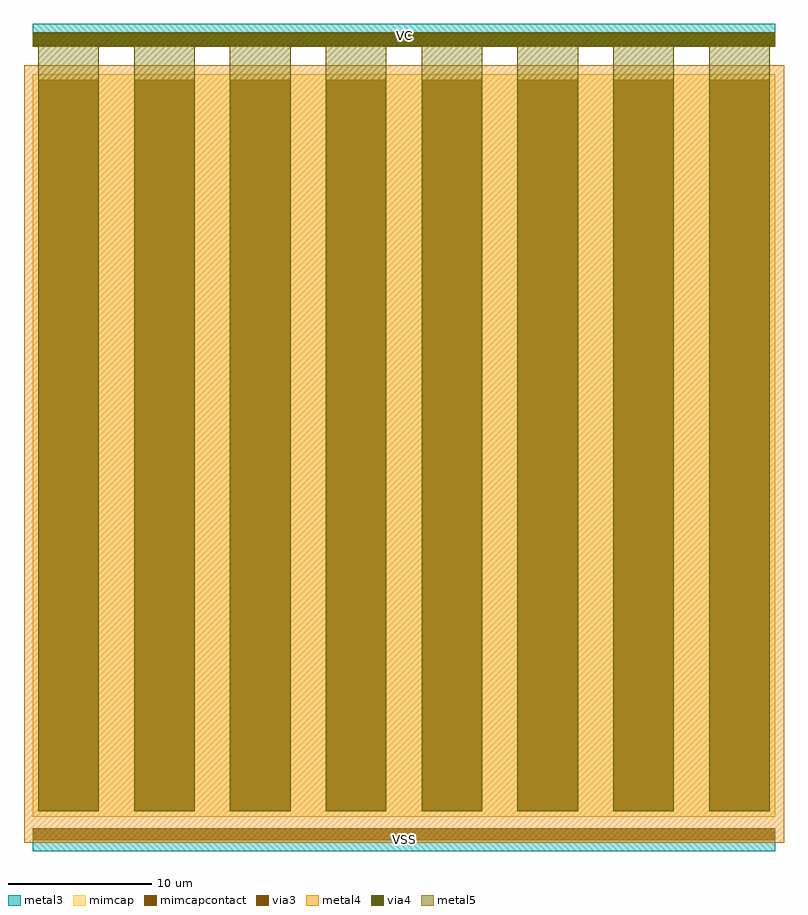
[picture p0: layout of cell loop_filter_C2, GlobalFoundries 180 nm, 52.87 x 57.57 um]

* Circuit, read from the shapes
.subckt loop_filter_C2 VC VSS
XC1 VC VSS cap_mim_2f0fF c_width=51.67u c_length=51.67u
.ends

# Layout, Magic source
magic
tech gf180mcuD
magscale 1 10
<< metal3 >>
rect 0 -340 10334 -160
rect 0 10714 10334 10914
rect 0 10714 10334 11034
rect 0 10714 10334 11034
rect 0 -480 10334 -160
rect 0 -480 10334 -160
<< metal4 >>
rect -120 -360 10454 10454
rect 0 -340 10334 -160
rect 0 10714 10334 10914
rect 0 10714 10334 10914
<< mimcap >>
rect 0 0 10334 10334
<< metal5 >>
rect 78 78 922 10814
rect 1411 78 2255 10814
rect 2745 78 3589 10814
rect 4078 78 4922 10814
rect 5412 78 6256 10814
rect 6745 78 7589 10814
rect 8078 78 8922 10814
rect 9412 78 10256 10814
rect 0 10714 10334 10914
rect 0 10714 10334 10914
<< via3 >>
rect 10 -330 10324 -170
rect 10 10724 10324 10904
<< via4 >>
rect 10 10724 10324 10904
<< mimcapcontact >>
rect 78 78 922 10256
rect 1411 78 2255 10256
rect 2745 78 3589 10256
rect 4078 78 4922 10256
rect 5412 78 6256 10256
rect 6745 78 7589 10256
rect 8078 78 8922 10256
rect 9412 78 10256 10256
<< labels >>
flabel metal3 s 0 10714 10334 11034 0 FreeSans 80 0 0 0 VC
port 1 nsew signal bidirectional
flabel metal3 s 0 -480 10334 -160 0 FreeSans 80 0 0 0 VSS
port 2 nsew signal bidirectional
<< end >>
